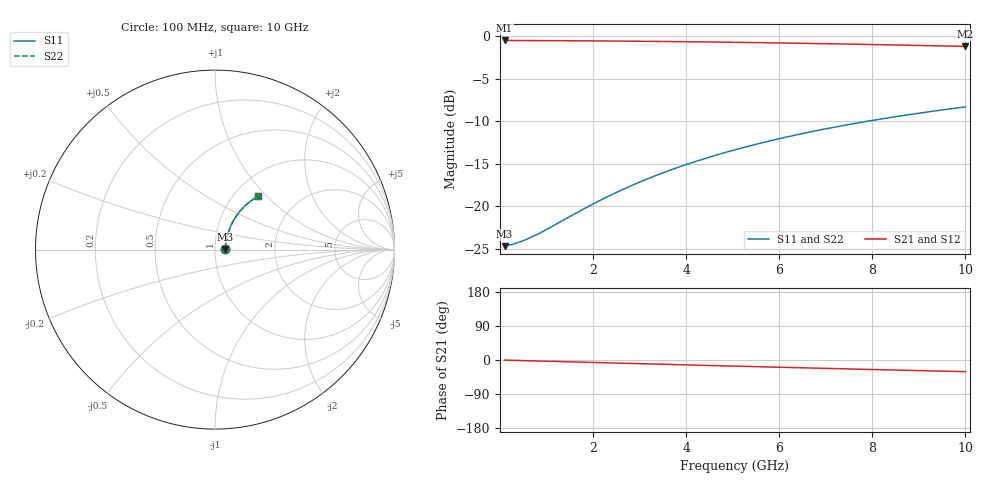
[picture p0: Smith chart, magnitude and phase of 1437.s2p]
# Hz S RI R 50.00
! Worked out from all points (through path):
!   100 points, 100 MHz to 10 GHz, reference 50 ohm
!   highest |S21| = -0.52 dB at 100 MHz (marker M1); lowest = -1.2 dB at 10 GHz (marker M2)
!   group delay of S21, straight-line fit = 8.58 ps
!   lowest |S11| = -24.7 dB at 100 MHz (marker M3), VSWR 1.12, Z = 56.2 + j0.437 ohm
!   |S11| at or under -10 dB: start of sweep to 7.917 GHz
!   |S22| runs from -24.7 to -8.3 dB; largest |S21 - S12| = 0
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1e8  0.058 0.00388  0.942 -0.00535  0.942 -0.00535  0.058 0.00388
3e8  0.0588 0.0116  0.9411 -0.016  0.9411 -0.016  0.0588 0.0116
4e8  0.0592 0.0155  0.9408 -0.0213  0.9408 -0.0213  0.0592 0.0155
5e8  0.0596 0.0193  0.9404 -0.0267  0.9404 -0.0267  0.0596 0.0193
7e8  0.0604 0.027  0.9395 -0.0373  0.9395 -0.0373  0.0604 0.027
1e9  0.0619 0.0385  0.938 -0.0532  0.938 -0.0532  0.0619 0.0385
1.8e9  0.0674 0.0688  0.9322 -0.0952  0.9322 -0.0952  0.0674 0.0688
2.2e9  0.0711 0.0837  0.9283 -0.116  0.9283 -0.116  0.0711 0.0837
2.6e9  0.0755 0.0983  0.9238 -0.1365  0.9238 -0.1365  0.0755 0.0983
3e9  0.0804 0.1127  0.9186 -0.1567  0.9186 -0.1567  0.0804 0.1127
3.4e9  0.0859 0.1268  0.9127 -0.1767  0.9127 -0.1767  0.0859 0.1268
3.8e9  0.0921 0.1406  0.9063 -0.1964  0.9063 -0.1964  0.0921 0.1406
4.2e9  0.0988 0.154  0.8992 -0.2157  0.8992 -0.2157  0.0988 0.154
4.6e9  0.106 0.167  0.8916 -0.2347  0.8916 -0.2347  0.106 0.167
5.1e9  0.1158 0.1828  0.8813 -0.2578  0.8813 -0.2578  0.1158 0.1828
5.5e9  0.1241 0.1949  0.8725 -0.2758  0.8725 -0.2758  0.1241 0.1949
5.9e9  0.1329 0.2065  0.8631 -0.2934  0.8631 -0.2934  0.1329 0.2065
6.7e9  0.1518 0.2284  0.8432 -0.3271  0.8432 -0.3271  0.1518 0.2284
7.5e9  0.1721 0.2483  0.8216 -0.3589  0.8216 -0.3589  0.1721 0.2483
8.4e9  0.1963 0.2682  0.7957 -0.3922  0.7957 -0.3922  0.1963 0.2682
9.2e9  0.2189 0.2836  0.7715 -0.4196  0.7715 -0.4196  0.2189 0.2836
1e10  0.2422 0.2969  0.7464 -0.445  0.7464 -0.445  0.2422 0.2969
